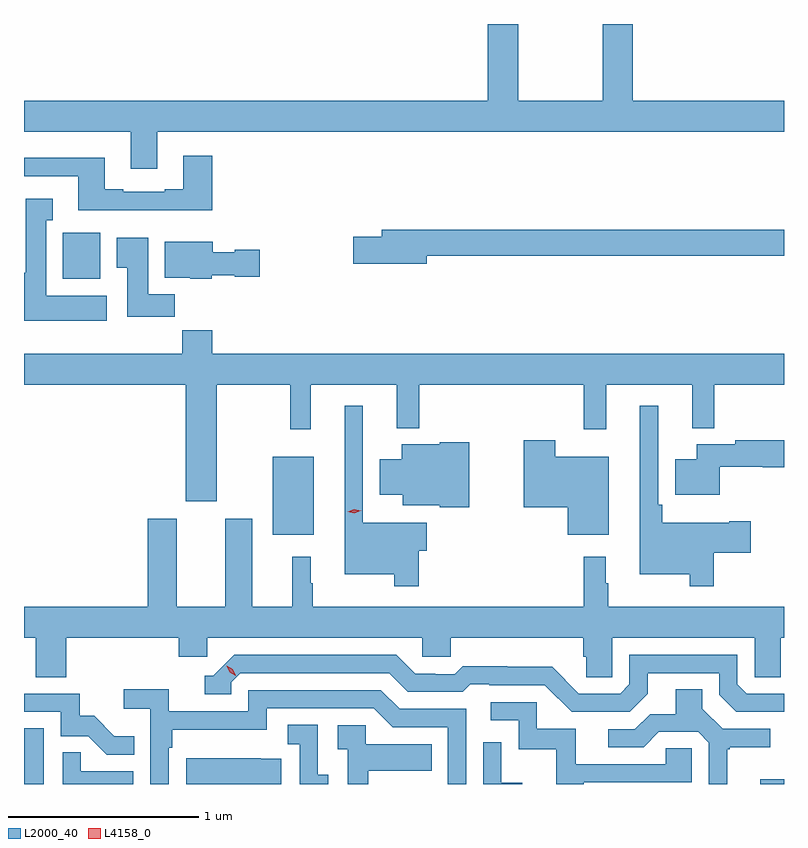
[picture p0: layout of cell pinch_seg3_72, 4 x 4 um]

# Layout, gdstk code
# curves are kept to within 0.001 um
import gdstk
lib = gdstk.Library(unit=1e-6, precision=1e-09)
def R(c, l, rs):  # rectangles x0, y0, x1, y1
    for r in rs: c.add(gdstk.rectangle(r[:2], r[2:], *l))
def P(c, l, *ps):  # polygons
    for p in ps: c.add(gdstk.Polygon(p, *l))
L2000_40 = (2000, 40)
L4158_0 = (4158, 0)

pinch_seg3_72 = lib.new_cell('pinch_seg3_72')
R(pinch_seg3_72, L2000_40, [(1047.385,732.115,1047.49,732.409), (1051.259,732.115,1051.385,732.139), (1048.694,733.427,1048.909,733.837), (1047.59,734.774,1047.787,735.016)])
P(pinch_seg3_72, L2000_40, [(1051.385,735.712),(1050.59,735.712),(1050.59,736.115),(1050.43,736.115),(1050.43,735.712),(1049.985,735.712),(1049.985,736.115),(1049.825,736.115),(1049.825,735.712),(1047.385,735.712),(1047.385,735.548),(1047.947,735.548),(1047.947,735.354),(1048.087,735.354),(1048.087,735.548),(1051.385,735.548)],
  [(1048.376,735.421),(1048.223,735.421),(1048.223,735.244),(1048.127,735.244),(1048.127,735.231),(1047.907,735.231),(1047.907,735.244),(1047.811,735.244),(1047.811,735.412),(1047.385,735.412),(1047.385,735.315),(1047.671,735.315),(1047.671,735.134),(1048.376,735.134)],
  [(1047.82,734.686),(1047.502,734.686),(1047.502,735.083),(1047.535,735.083),(1047.535,735.196),(1047.395,735.196),(1047.395,734.806),(1047.385,734.806),(1047.385,734.552),(1047.82,734.552)],
  [(1049.506,734.896),(1051.385,734.896),(1051.385,735.032),(1049.267,735.032),(1049.267,734.996),(1049.118,734.996),(1049.118,734.854),(1049.506,734.854)],
  [(1048.178,734.692),(1048.039,734.692),(1048.039,734.989),(1047.872,734.989),(1047.872,734.833),(1047.929,734.833),(1047.929,734.574),(1048.178,734.574)],
  [(1048.374,734.792),(1048.494,734.792),(1048.494,734.785),(1048.627,734.785),(1048.627,734.927),(1048.494,734.927),(1048.494,734.914),(1048.378,734.914),(1048.378,734.968),(1048.127,734.968),(1048.127,734.78),(1048.26,734.78),(1048.26,734.774),(1048.374,734.774)],
  [(1048.399,734.216),(1048.785,734.216),(1048.785,733.983),(1048.895,733.983),(1048.895,734.216),(1049.348,734.216),(1049.348,733.988),(1049.465,733.988),(1049.465,734.216),(1050.331,734.216),(1050.331,733.983),(1050.449,733.983),(1050.449,734.216),(1050.902,734.216),(1050.902,733.988),(1051.019,733.988),(1051.019,734.216),(1051.385,734.216),(1051.385,734.38),(1048.376,734.38),(1048.376,734.504),(1048.219,734.504),(1048.219,734.38),(1047.385,734.38),(1047.385,734.216),(1048.235,734.216),(1048.235,733.602),(1048.399,733.602)],
  [(1051.016,733.331),(1051.21,733.331),(1051.21,733.497),(1051.097,733.497),(1051.097,733.489),(1050.743,733.489),(1050.743,733.585),(1050.723,733.585),(1050.723,734.107),(1050.626,734.107),(1050.626,733.22),(1050.888,733.22),(1050.888,733.155),(1051.016,733.155)],
  [(1049.462,733.342),(1049.506,733.342),(1049.506,733.489),(1049.169,733.489),(1049.169,734.107),(1049.072,734.107),(1049.072,733.22),(1049.334,733.22),(1049.334,733.155),(1049.462,733.155)],
  [(1050.463,733.837),(1050.18,733.837),(1050.18,733.924),(1050.014,733.924),(1050.014,733.571),(1050.248,733.571),(1050.248,733.427),(1050.463,733.427)],
  [(1051.048,733.786),(1051.272,733.786),(1051.272,733.781),(1051.385,733.781),(1051.385,733.923),(1051.128,733.923),(1051.128,733.903),(1050.926,733.903),(1050.926,733.825),(1050.812,733.825),(1050.812,733.637),(1051.048,733.637)],
  [(1049.728,733.915),(1049.574,733.915),(1049.574,733.903),(1049.372,733.903),(1049.372,733.825),(1049.258,733.825),(1049.258,733.637),(1049.378,733.637),(1049.378,733.583),(1049.574,733.583),(1049.574,733.571),(1049.728,733.571)],
  [(1047.385,732.884),(1047.448,732.884),(1047.448,732.676),(1047.608,732.676),(1047.608,732.884),(1048.199,732.884),(1048.199,732.786),(1048.35,732.786),(1048.35,732.884),(1049.481,732.884),(1049.481,732.786),(1049.631,732.786),(1049.631,732.884),(1050.329,732.884),(1050.329,732.786),(1050.343,732.786),(1050.343,732.676),(1050.48,732.676),(1050.48,732.884),(1051.23,732.884),(1051.23,732.676),(1051.369,732.676),(1051.369,732.884),(1051.385,732.884),(1051.385,733.048),(1050.46,733.048),(1050.46,733.172),(1050.448,733.172),(1050.448,733.312),(1050.331,733.312),(1050.331,733.048),(1048.906,733.048),(1048.906,733.172),(1048.894,733.172),(1048.894,733.312),(1048.796,733.312),(1048.796,733.048),(1048.585,733.048),(1048.585,733.51),(1048.445,733.51),(1048.445,733.048),(1048.189,733.048),(1048.189,733.51),(1048.037,733.51),(1048.037,733.048),(1047.385,733.048)],
  [(1051.385,732.591),(1051.188,732.591),(1051.14,732.639),(1051.14,732.795),(1050.57,732.795),(1050.57,732.639),(1050.522,732.591),(1050.306,732.591),(1050.164,732.733),(1049.928,732.733),(1049.928,732.736),(1049.695,732.736),(1049.653,732.693),(1049.55,732.693),(1049.55,732.696),(1049.443,732.696),(1049.344,732.795),(1048.491,732.795),(1048.38,732.684),(1048.337,732.684),(1048.337,732.588),(1048.476,732.588),(1048.476,732.651),(1048.524,732.699),(1049.307,732.699),(1049.406,732.6),(1049.695,732.6),(1049.734,732.639),(1049.833,732.639),(1049.833,732.636),(1050.126,732.636),(1050.267,732.495),(1050.573,732.495),(1050.667,732.589),(1050.667,732.699),(1051.044,732.699),(1051.044,732.585),(1051.134,732.495),(1051.385,732.494)],
  [(1048.146,732.305),(1048.166,732.305),(1048.166,732.401),(1048.662,732.401),(1048.662,732.513),(1049.226,732.513),(1049.325,732.414),(1049.616,732.414),(1049.616,732.115),(1049.712,732.115),(1049.712,732.51),(1049.362,732.51),(1049.263,732.609),(1048.566,732.609),(1048.566,732.498),(1048.148,732.498),(1048.148,732.614),(1047.909,732.614),(1047.909,732.512),(1048.05,732.512),(1048.05,732.115),(1048.146,732.115)],
  [(1051.087,732.297),(1051.099,732.297),(1051.099,732.308),(1051.312,732.308),(1051.312,732.405),(1051.062,732.405),(1050.955,732.512),(1050.955,732.614),(1050.815,732.614),(1050.815,732.482),(1050.68,732.482),(1050.6,732.402),(1050.459,732.402),(1050.459,732.309),(1050.646,732.309),(1050.727,732.39),(1050.933,732.39),(1050.99,732.333),(1050.99,732.115),(1051.087,732.115)],
  [(1047.965,732.367),(1047.861,732.367),(1047.754,732.474),(1047.678,732.474),(1047.678,732.591),(1047.385,732.591),(1047.385,732.495),(1047.579,732.495),(1047.579,732.366),(1047.723,732.366),(1047.821,732.268),(1047.965,732.268)],
  [(1050.331,732.123),(1050.9,732.123),(1050.9,732.303),(1050.763,732.303),(1050.763,732.219),(1050.289,732.219),(1050.289,732.405),(1050.084,732.405),(1050.084,732.546),(1049.841,732.546),(1049.841,732.45),(1049.988,732.45),(1049.988,732.297),(1050.187,732.297),(1050.187,732.115),(1050.331,732.115)],
  [(1048.987,732.165),(1048.932,732.165),(1048.932,732.428),(1048.773,732.428),(1048.773,732.325),(1048.836,732.325),(1048.836,732.115),(1048.987,732.115)],
  [(1049.197,732.185),(1049.531,732.185),(1049.531,732.325),(1049.184,732.325),(1049.184,732.423),(1049.037,732.423),(1049.037,732.299),(1049.088,732.299),(1049.088,732.115),(1049.197,732.115)],
  [(1050.008,732.122),(1049.898,732.122),(1049.898,732.334),(1049.802,732.334),(1049.802,732.115),(1050.008,732.115)],
  [(1047.961,732.183),(1047.683,732.183),(1047.683,732.281),(1047.588,732.281),(1047.588,732.115),(1047.961,732.115)],
  [(1048.739,732.247),(1048.631,732.247),(1048.631,732.25),(1048.238,732.25),(1048.238,732.115),(1048.739,732.115)])
P(pinch_seg3_72, L4158_0, [(1049.124,733.541),(1049.088,733.548),(1049.088,733.548),(1049.088,733.549),(1049.123,733.561),(1049.158,733.553),(1049.159,733.553),(1049.158,733.553)],
  [(1048.5,732.685),(1048.469,732.704),(1048.452,732.736),(1048.452,732.737),(1048.453,732.737),(1048.484,732.718),(1048.5,732.685),(1048.5,732.685)])

lib.write_gds('pinch_seg3_72.gds')
